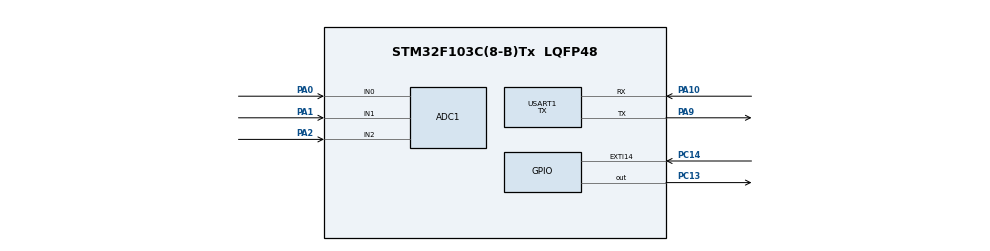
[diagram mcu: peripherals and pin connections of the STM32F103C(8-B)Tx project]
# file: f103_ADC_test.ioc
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ADC1.Channel-25\#ChannelRegularConversion=ADC_CHANNEL_0
ADC1.Channel-26\#ChannelRegularConversion=ADC_CHANNEL_1
ADC1.Channel-27\#ChannelRegularConversion=ADC_CHANNEL_2
ADC1.ContinuousConvMode=DISABLE
ADC1.DiscontinuousConvMode=DISABLE
ADC1.EnableRegularConversion=ENABLE
ADC1.NbrOfConversion=3
ADC1.NbrOfConversionFlag=1
ADC1.Rank-25\#ChannelRegularConversion=1
ADC1.Rank-26\#ChannelRegularConversion=2
ADC1.Rank-27\#ChannelRegularConversion=3
ADC1.SamplingTime-25\#ChannelRegularConversion=ADC_SAMPLETIME_7CYCLES_5
ADC1.SamplingTime-26\#ChannelRegularConversion=ADC_SAMPLETIME_7CYCLES_5
ADC1.SamplingTime-27\#ChannelRegularConversion=ADC_SAMPLETIME_7CYCLES_5
ADC1.master=1
Mcu.Family=STM32F1
Mcu.Name=STM32F103C(8-B)Tx
Mcu.Package=LQFP48
NVIC.EXTI15_10_IRQn=true\:0\:0\:false\:false\:true\:true\:true\:true
NVIC.PriorityGroup=NVIC_PRIORITYGROUP_4
PA0-WKUP.Signal=ADCx_IN0
PA1.Signal=ADCx_IN1
PA10.Mode=Asynchronous
PA10.Signal=USART1_RX
PA13.Mode=Serial_Wire
PA13.Signal=SYS_JTMS-SWDIO
PA14.Mode=Serial_Wire
PA14.Signal=SYS_JTCK-SWCLK
PA2.Signal=ADCx_IN2
PA9.Mode=Asynchronous
PA9.Signal=USART1_TX
PC13-TAMPER-RTC.GPIO_PuPd=GPIO_PULLUP
PC13-TAMPER-RTC.Signal=GPIO_Output
PC14-OSC32_IN.GPIO_PuPd=GPIO_PULLDOWN
PC14-OSC32_IN.Signal=GPXTI14
PD0-OSC_IN.Mode=HSE-External-Oscillator
PD0-OSC_IN.Signal=RCC_OSC_IN
PD1-OSC_OUT.Mode=HSE-External-Oscillator
PD1-OSC_OUT.Signal=RCC_OSC_OUT
ProjectManager.HeapSize=0x200
ProjectManager.StackSize=0x400
ProjectManager.TargetToolchain=STM32CubeIDE
RCC.APB1Freq_Value=8000000
RCC.APB2Freq_Value=8000000
RCC.PLLSourceVirtual=RCC_PLLSOURCE_HSE
RCC.SYSCLKSource=RCC_SYSCLKSOURCE_HSE
RCC.USBFreq_Value=16000000
SH.ADCx_IN0.0=ADC1_IN0,IN0
SH.ADCx_IN1.0=ADC1_IN1,IN1
SH.ADCx_IN2.0=ADC1_IN2,IN2
USART1.Mode=MODE_TX
USART1.VirtualMode=VM_ASYNC
board=custom

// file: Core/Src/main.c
/* USER CODE BEGIN Header */
/**
  ******************************************************************************
  * @file           : main.c
  * @brief          : Main program body
  ******************************************************************************
  * @attention
  *
  * Copyright (c) 2023 STMicroelectronics.
  * All rights reserved.
  *
  * This software is licensed under terms that can be found in the LICENSE file
  * in the root directory of this software component.
  * If no LICENSE file comes with this software, it is provided AS-IS.
  *
  ******************************************************************************
  */
/* USER CODE END Header */
#include "main.h"

ADC_HandleTypeDef hadc1;

UART_HandleTypeDef huart1;

/* USER CODE BEGIN PV */
uint8_t nums_arr[4];
uint8_t ascii_arr[4];
/* USER CODE END PV */

void SystemClock_Config(void);
static void MX_GPIO_Init(void);
static void MX_ADC1_Init(void);
static void MX_USART1_UART_Init(void);
/* USER CODE BEGIN PFP */
void HAL_GPIO_EXTI_Callback(uint16_t GPIO_Pin);
void DDS_VAL_TO_NUMS(uint32_t val);
void DDS_NUM_TO_ASCII(void);
/* USER CODE END PFP */

int main(void)
{
  /* USER CODE BEGIN 1 */
	uint32_t ADC_val1 = 0;
	uint32_t ADC_val2 = 0;
	uint32_t ADC_val3 = 0;
	HAL_StatusTypeDef adc_pol_ok;
  /* USER CODE END 1 */

  /* MCU Configuration--------------------------------------------------------*/

  /* Reset of all peripherals, Initializes the Flash interface and the Systick. */
  HAL_Init();

  /* Configure the system clock */
  SystemClock_Config();

  /* Initialize all configured peripherals */
  MX_GPIO_Init();
  MX_ADC1_Init();
  MX_USART1_UART_Init();
  /* USER CODE BEGIN 2 */
  HAL_StatusTypeDef adc_start_ok;
  HAL_StatusTypeDef adc_stop_ok;
  HAL_StatusTypeDef adc_poll_ok;
  HAL_StatusTypeDef uart_rx_ok;
  /* USER CODE END 2 */

  /* Infinite loop */
  /* USER CODE BEGIN WHILE */

  uint8_t uart_tx_data[] = {0,0};
  uint8_t uart_question_sign_3d3v[] = {0x33, 0x2E, 0x33, 0x20, 0x56};
  uint8_t uart_question_sign_0v[] = {0x30, 0x56};
  uint8_t uart_CR_LF_sign[] = {0x0D, 0x0A};
  uint32_t adc_arr[] = {0,0,0};
  uint8_t i = 0;
  while (1)
  {
    /* USER CODE END WHILE */

    /* USER CODE BEGIN 3 */
	  adc_start_ok = HAL_ADC_Start(&hadc1);
	  //adc_poll_ok = HAL_ADC_PollForConversion(&hadc1, HAL_MAX_DELAY);
	  //ADC_val1 = HAL_ADC_GetValue(&hadc1);
		  adc_arr[0] = HAL_ADC_GetValue(&hadc1);
		  adc_arr[1] = HAL_ADC_GetValue(&hadc1);
		  adc_arr[2] = HAL_ADC_GetValue(&hadc1);
		  HAL_ADC_Stop(&hadc1);
	  /*for(i = 0; i<3; i=i+1){
		  if(adc_arr[i]>3000){
				HAL_UART_Transmit(&huart1, &uart_question_sign_3d3v[0], 5, HAL_MAX_DELAY);
				uart_rx_ok = HAL_UART_Transmit(&huart1, &uart_CR_LF_sign[0], 2, HAL_MAX_DELAY);
		  }else{
				HAL_UART_Transmit(&huart1, &uart_question_sign_0v[0], 2, HAL_MAX_DELAY);
				uart_rx_ok = HAL_UART_Transmit(&huart1, &uart_CR_LF_sign[0], 2, HAL_MAX_DELAY);
		  }
	  }*/
//HAL_UART_Transmit(&huart1, &uart_CR_LF_sign[0], 2, HAL_MAX_DELAY);

DDS_VAL_TO_NUMS(adc_arr[0]);
DDS_NUM_TO_ASCII();

HAL_UART_Transmit(&huart1, &ascii_arr[0], 4, HAL_MAX_DELAY);
HAL_UART_Transmit(&huart1, &uart_CR_LF_sign[0], 2, HAL_MAX_DELAY);

DDS_VAL_TO_NUMS(adc_arr[1]);
DDS_NUM_TO_ASCII();

HAL_UART_Transmit(&huart1, &ascii_arr[0], 4, HAL_MAX_DELAY);
HAL_UART_Transmit(&huart1, &uart_CR_LF_sign[0], 2, HAL_MAX_DELAY);

DDS_VAL_TO_NUMS(adc_arr[2]);
DDS_NUM_TO_ASCII();

HAL_UART_Transmit(&huart1, &ascii_arr[0], 4, HAL_MAX_DELAY);
HAL_UART_Transmit(&huart1, &uart_CR_LF_sign[0], 2, HAL_MAX_DELAY);

HAL_UART_Transmit(&huart1, &uart_CR_LF_sign[0], 2, HAL_MAX_DELAY);

HAL_Delay(1000);
  }
  /* USER CODE END 3 */
}

void SystemClock_Config(void)
{
  RCC_OscInitTypeDef RCC_OscInitStruct = {0};
  RCC_ClkInitTypeDef RCC_ClkInitStruct = {0};
  RCC_PeriphCLKInitTypeDef PeriphClkInit = {0};

  /** Initializes the RCC Oscillators according to the specified parameters
  * in the RCC_OscInitTypeDef structure.
  */
  RCC_OscInitStruct.OscillatorType = RCC_OSCILLATORTYPE_HSE;
  RCC_OscInitStruct.HSEState = RCC_HSE_ON;
  RCC_OscInitStruct.PLL.PLLState = RCC_PLL_NONE;
  if (HAL_RCC_OscConfig(&RCC_OscInitStruct) != HAL_OK)
  {
    Error_Handler();
  }

  /** Initializes the CPU, AHB and APB buses clocks
  */
  RCC_ClkInitStruct.ClockType = RCC_CLOCKTYPE_HCLK|RCC_CLOCKTYPE_SYSCLK
                              |RCC_CLOCKTYPE_PCLK1|RCC_CLOCKTYPE_PCLK2;
  RCC_ClkInitStruct.SYSCLKSource = RCC_SYSCLKSOURCE_HSE;
  RCC_ClkInitStruct.AHBCLKDivider = RCC_SYSCLK_DIV1;
  RCC_ClkInitStruct.APB1CLKDivider = RCC_HCLK_DIV1;
  RCC_ClkInitStruct.APB2CLKDivider = RCC_HCLK_DIV1;

  if (HAL_RCC_ClockConfig(&RCC_ClkInitStruct, FLASH_LATENCY_0) != HAL_OK)
  {
    Error_Handler();
  }
  PeriphClkInit.PeriphClockSelection = RCC_PERIPHCLK_ADC;
  PeriphClkInit.AdcClockSelection = RCC_ADCPCLK2_DIV2;
  if (HAL_RCCEx_PeriphCLKConfig(&PeriphClkInit) != HAL_OK)
  {
    Error_Handler();
  }
}

static void MX_ADC1_Init(void)
{

  ADC_ChannelConfTypeDef sConfig = {0};

  /** Common config
  */
  hadc1.Instance = ADC1;
  hadc1.Init.ScanConvMode = ADC_SCAN_ENABLE;
  hadc1.Init.ContinuousConvMode = DISABLE;
  hadc1.Init.DiscontinuousConvMode = DISABLE;
  hadc1.Init.ExternalTrigConv = ADC_SOFTWARE_START;
  hadc1.Init.DataAlign = ADC_DATAALIGN_RIGHT;
  hadc1.Init.NbrOfConversion = 3;
  if (HAL_ADC_Init(&hadc1) != HAL_OK)
  {
    Error_Handler();
  }

  /** Configure Regular Channel
  */
  sConfig.Channel = ADC_CHANNEL_0;
  sConfig.Rank = ADC_REGULAR_RANK_1;
  sConfig.SamplingTime = ADC_SAMPLETIME_7CYCLES_5;
  if (HAL_ADC_ConfigChannel(&hadc1, &sConfig) != HAL_OK)
  {
    Error_Handler();
  }

  /** Configure Regular Channel
  */
  sConfig.Channel = ADC_CHANNEL_1;
  sConfig.Rank = ADC_REGULAR_RANK_2;
  if (HAL_ADC_ConfigChannel(&hadc1, &sConfig) != HAL_OK)
  {
    Error_Handler();
  }

  /** Configure Regular Channel
  */
  sConfig.Channel = ADC_CHANNEL_2;
  sConfig.Rank = ADC_REGULAR_RANK_3;
  if (HAL_ADC_ConfigChannel(&hadc1, &sConfig) != HAL_OK)
  {
    Error_Handler();
  }

}

static void MX_USART1_UART_Init(void)
{

  huart1.Instance = USART1;
  huart1.Init.BaudRate = 115200;
  huart1.Init.WordLength = UART_WORDLENGTH_8B;
  huart1.Init.StopBits = UART_STOPBITS_1;
  huart1.Init.Parity = UART_PARITY_NONE;
  huart1.Init.Mode = UART_MODE_TX;
  huart1.Init.HwFlowCtl = UART_HWCONTROL_NONE;
  huart1.Init.OverSampling = UART_OVERSAMPLING_16;
  if (HAL_UART_Init(&huart1) != HAL_OK)
  {
    Error_Handler();
  }

}

static void MX_GPIO_Init(void)
{
  GPIO_InitTypeDef GPIO_InitStruct = {0};

  /* GPIO Ports Clock Enable */
  __HAL_RCC_GPIOC_CLK_ENABLE();
  __HAL_RCC_GPIOD_CLK_ENABLE();
  __HAL_RCC_GPIOA_CLK_ENABLE();

  /*Configure GPIO pin Output Level */
  HAL_GPIO_WritePin(GPIOC, GPIO_PIN_13, GPIO_PIN_RESET);

  /*Configure GPIO pin : PC13 */
  GPIO_InitStruct.Pin = GPIO_PIN_13;
  GPIO_InitStruct.Mode = GPIO_MODE_OUTPUT_PP;
  GPIO_InitStruct.Pull = GPIO_PULLUP;
  GPIO_InitStruct.Speed = GPIO_SPEED_FREQ_LOW;
  HAL_GPIO_Init(GPIOC, &GPIO_InitStruct);

  /*Configure GPIO pin : PC14 */
  GPIO_InitStruct.Pin = GPIO_PIN_14;
  GPIO_InitStruct.Mode = GPIO_MODE_IT_RISING;
  GPIO_InitStruct.Pull = GPIO_PULLDOWN;
  HAL_GPIO_Init(GPIOC, &GPIO_InitStruct);

  /* EXTI interrupt init*/
  HAL_NVIC_SetPriority(EXTI15_10_IRQn, 0, 0);
  HAL_NVIC_EnableIRQ(EXTI15_10_IRQn);

}

/* USER CODE BEGIN 4 */
void HAL_GPIO_EXTI_Callback(uint16_t GPIO_Pin){
	/*HAL_ADC_Start(&hadc1);
	HAL_ADC_PollForConversion(&hadc1, HAL_MAX_DELAY);
	ADC_val1 = HAL_ADC_GetValue(&hadc1);
	HAL_ADC_PollForConversion(&hadc1, HAL_MAX_DELAY);
	ADC_val2 = HAL_ADC_GetValue(&hadc1);
	HAL_ADC_PollForConversion(&hadc1, HAL_MAX_DELAY);
	ADC_val3 = HAL_ADC_GetValue(&hadc1);
	HAL_ADC_Stop(&hadc1);*/
	//HAL_UART_Transmit_DMA(&huart1, const uint8_t *pData, uint16_t Size)
}

void DDS_num_to_ASCII(uint32_t number, uint8_t *result){

}
void DDS_VAL_TO_NUMS(uint32_t val){
	nums_arr[0] = val/1000;
	nums_arr[1] = (val%1000)/100;
	nums_arr[2] = ((val%1000)%100)/10;
	nums_arr[3] = ((val%1000)%100)%10;
}

void DDS_NUM_TO_ASCII(void){
	for(int i = 0; i<4; i=i+1){
		if(nums_arr[i] == 0){
			ascii_arr[i] = 0x30;
			continue;
		}
		if(nums_arr[i] == 1){
			ascii_arr[i] = 0x31;
			continue;
		}
		if(nums_arr[i] == 2){
			ascii_arr[i] = 0x32;
			continue;
		}
		if(nums_arr[i] == 3){
			ascii_arr[i] = 0x33;
			continue;
		}
		if(nums_arr[i] == 4){
			ascii_arr[i] = 0x34;
			continue;
		}
		if(nums_arr[i] == 5){
			ascii_arr[i] = 0x35;
			continue;
		}
		if(nums_arr[i] == 6){
			ascii_arr[i] = 0x36;
			continue;
		}
		if(nums_arr[i] == 7){
			ascii_arr[i] = 0x37;
			continue;
		}
				if(nums_arr[i] == 8){
			ascii_arr[i] = 0x38;
			continue;
		}
		if(nums_arr[i] == 9){
			ascii_arr[i] = 0x39;
			continue;
		}
	}

}
/* USER CODE END 4 */

void Error_Handler(void)
{
  __disable_irq();
  while (1)
  {
  }
}
